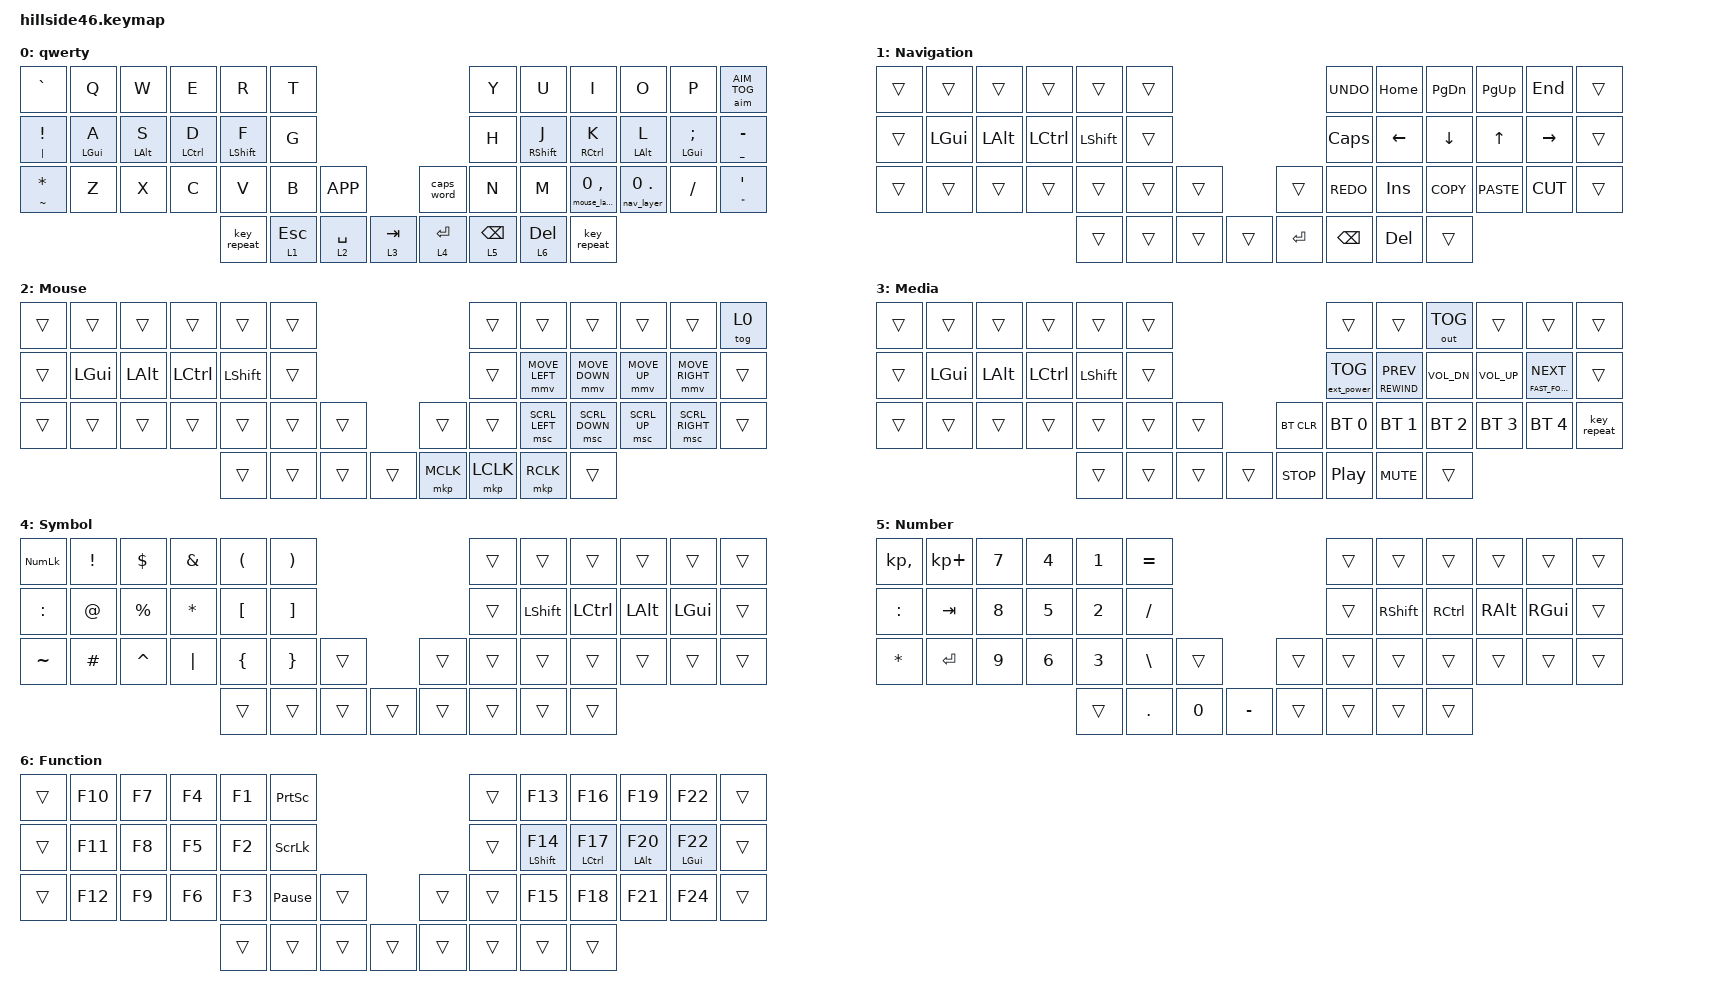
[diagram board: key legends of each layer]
/*
 * Copyright (c) 2021-2022 The ZMK Contributors
 *
 * SPDX-License-Identifier: MIT
 */

#define ZMK_POINTING_DEFAULT_MOVE_VAL 1500
#define ZMK_POINTING_DEFAULT_SCRL_VAL 200

#include "keys_hu.h"
//#include "./helper.h"
//#include "./zmk-nodefree-config/keypos_def/keypos_46keys_hillside.h"
#include <dt-bindings/zmk/mouse.h>
#include <behaviors.dtsi>
#include <zmk-helpers/helper.h>
#include <dt-bindings/zmk/bt.h>
#include <dt-bindings/zmk/ext_power.h>
#include <dt-bindings/zmk/keys.h>
#include <dt-bindings/zmk/outputs.h>
#include <dt-bindings/zmk/pointing.h>
#include <behaviors/anti_idle_mode.dtsi>
#include <dt-bindings/anti_idle_mode.h>

// Left-hand alphanumeric keys
#define KEYS_L 0 1 2 3 4 5 \
               12 13 14 15 16 17 \
               24 25 26 27 28 29

// Right-hand alphanumeric keys
#define KEYS_R 6   7  8  9 10 11 \
               18 19 20 21 22 23 \
               32 33 34 35 36 37

// Thumb keys (including inner thumb keys)
#define KEYS_T 30 38 39 40 41 \
               42 43 44 45 31

#define BASE 0
#define NAV  1
#define MOU  2
#define MED  3
#define SYM  4
#define NUM  5
#define FUN  6

// Smart mouse layer (requires zmk-tri-state)
ZMK_TRI_STATE(
    smart_mouse,
    bindings = <&tog MOU>, <&none>, <&tog MOU>;
    ignored-key-positions =
        <13 14 15 16
         19 20 21 22
         33 34 35 36
         42 43 44>;
    ignored-layers = <MOU>;
)

// Tap: comma | Hold: smart mouse
ZMK_HOLD_TAP(
    mouse_layer,
    bindings = <&smart_mouse>, <&kp>;
    flavor = "tap-preferred";
    tapping-term-ms = <600>;
)


// Smart navigation layer
ZMK_TRI_STATE(
    smart_nav,
    bindings = <&tog NAV>, <&none>, <&tog NAV>;
    ignored-key-positions =
        <7   8  9 10
         13 14 15 16
         19 20 21 22
         42 43 44>;
    ignored-layers = <NAV>;
)

// Tap: dot | Hold: smart navigation
ZMK_HOLD_TAP(
    nav_layer,
    bindings = <&smart_nav>, <&kp>;
    flavor = "tap-preferred";
    tapping-term-ms = <600>;
)

//urob variables

#define HM_TAPPING_TERM 300
#define HM_TAPPING_TERM_FAST 200

&kscan0 {
    debounce-press-ms = <10>;
    debounce-release-ms = <10>;
};

/*
Both mouse movement and scrolling have independently configurableincomplete, errors
acceleration profiles with three parameters: delay before movement,
time to max speed and the acceleration exponent. The exponent is
usually set to 0 for constant speed, 1 for uniform acceleration or
2 for uniform jerk.*/
// #define U_MOUSE_MOVE_MAX 1400                     /* <--- New max speed setting (default: 600) */
// #undef MOVE_UP
// #undef MOVE_DOWN
// #undef MOVE_LEFT
// #undef MOVE_RIGHT
// #define MOVE_UP MOVE_VERT(-U_MOUSE_MOVE_MAX)
// #define MOVE_DOWN MOVE_VERT(U_MOUSE_MOVE_MAX)
// #define MOVE_LEFT MOVE_HOR(-U_MOUSE_MOVE_MAX)
// #define MOVE_RIGHT MOVE_HOR(U_MOUSE_MOVE_MAX)
/*
&mmv {
    time-to-max-speed-ms = <400>;             // <--- How long time until max speed is reached (default: 500)
};
*/

&mmv {
    acceleration-exponent = <2>;      // 1
    time-to-max-speed-ms = <400>;     // 40
    delay-ms = <0>;                   // 0
};

// #define U_MOUSE_SCROLL_MAX 100                    /* <--- New max speed setting (default: 10) */

// #undef SCROLL_UP
// #undef SCROLL_DOWN
// #undef SCROLL_LEFT
// #undef SCROLL_RIGHT
// #define SCROLL_UP SCROLL_VERT(U_MOUSE_SCROLL_MAX)
// #define SCROLL_DOWN SCROLL_VERT(-U_MOUSE_SCROLL_MAX)
// #define SCROLL_LEFT SCROLL_HOR(-U_MOUSE_SCROLL_MAX)
// #define SCROLL_RIGHT SCROLL_HOR(U_MOUSE_SCROLL_MAX)

#define U_MS_U &mmv MOVE_UP
#define U_MS_D &mmv MOVE_DOWN
#define U_MS_L &mmv MOVE_LEFT
#define U_MS_R &mmv MOVE_RIGHT
#define U_WH_U &msc SCRL_UP
#define U_WH_D &msc SCRL_DOWN
#define U_WH_L &msc SCRL_LEFT
#define U_WH_R &msc SCRL_RIGHT

/*
&mwh {
    time-to-max-speed-ms = <500>;                 // <--- How long time until max speed is reached 
    acceleration-exponent = <2>;
};
*/

&msc {
    acceleration-exponent = <2>;      // 0
    time-to-max-speed-ms = <500>;      // 500
    delay-ms = <0>;                   // 10
};

/ {
    anti_idle {
        compatible = "zmk,anti-idle-generic";
        interval-ms = <5000>;
        bindings = <&mmv MOVE_RIGHT &mmv MOVE_LEFT>;
        tap_ms = <100>;
        wait_ms = <200>;
    };

    behaviors {
        /*
        bm: balanced_homerow_mods {
            compatible = "zmk,behavior-hold-tap";
            label = "BALANCED_HOMEROW_MODS";
            #binding-cells = <2>;
            tapping-term-ms = <200>;    // <---[[moderate duration]]
            quick-tap-ms = <0>;
            flavor = "balanced";
            bindings = <&kp>, <&kp>;
        };
        */

        bhm: balanced_homerow_mods {
            compatible = "zmk,behavior-hold-tap";
            #binding-cells = <2>;
            tapping-term-ms = <HM_TAPPING_TERM>;    // <---[[moderate duration]]
            quick-tap-ms = <HM_TAPPING_TERM_FAST>;
            flavor = "balanced";
            bindings = <&kp>, <&kp>;
        };

        hm: homerow_mods {
            compatible = "zmk,behavior-hold-tap";
            label = "HOMEROW_MODS";
            #binding-cells = <2>;
            tapping-term-ms = <250>;
            quick-tap-ms = <0>;
            flavor = "tap-preferred";
            bindings = <&kp>, <&kp>;
        };

        // Positional Homerow mods
        // Homerow mods that prevent accidental activations when rolling keys,
        // such as when typing `st` or `ne` on colemak-dh layouts or `as` on
        // qwerty.
        //
        // Works by only allowing a mod to activate within tapping-term if
        // it's on the opposite side of the keyboard or on the same side thumb
        // keys.
        // Further optimization using urob's timerless homerow mods method:
        // https://github.com/urob/zmk-config#timeless-homerow-mods

        hm_l: homerow_mods_left {
            compatible = "zmk,behavior-hold-tap";
            label = "HOMEROW_MODS_LEFT";
            #binding-cells = <2>;
            bindings = <&kp>, <&kp>;

            flavor = "balanced";
            tapping-term-ms = <HM_TAPPING_TERM>;
            quick-tap-ms = <175>;                // repeat on tap-into-hold
            require-prior-idle-ms = <150>;         // requires PR #1387
            hold-trigger-key-positions = <KEYS_R KEYS_T>;
            hold-trigger-on-release;             // requires PR #1423
        };

        hm_r: homerow_mods_right {
            compatible = "zmk,behavior-hold-tap";
            label = "HOMEROW_MODS_RIGHT";
            #binding-cells = <2>;
            bindings = <&kp>, <&kp>;

            flavor = "balanced";
            tapping-term-ms = <HM_TAPPING_TERM>;
            quick-tap-ms = <175>;
            require-prior-idle-ms = <150>;         // requires PR #1387
            hold-trigger-key-positions = <KEYS_L KEYS_T>;
            hold-trigger-on-release;             // requires PR #1423
        };

        // Positional Homerow mods for shift
        // Use faster tapping term and disable some features that may
        // cause false negatives.

        hm_shift_l: hm_shift_l {
            compatible = "zmk,behavior-hold-tap";
            label = "HOMEROW_MODS_FAST_LEFT";
            #binding-cells = <2>;
            bindings = <&kp>, <&kp>;

            flavor = "balanced";
            tapping-term-ms = <HM_TAPPING_TERM_FAST>;
            quick-tap-ms = <175>;

            // global-quick-tap-ms = <150>;         // requires PR #1387

            hold-trigger-key-positions = <KEYS_R KEYS_T>;

            // hold-trigger-on-release;             // requires PR #1423
        };

        hm_shift_r: hm_shift_r {
            compatible = "zmk,behavior-hold-tap";
            label = "HOMEROW_MODS_FAST_RIGHT";
            #binding-cells = <2>;
            bindings = <&kp>, <&kp>;

            flavor = "balanced";
            tapping-term-ms = <HM_TAPPING_TERM_FAST>;
            quick-tap-ms = <175>;

            // global-quick-tap-ms = <150>;         // requires PR #1387

            hold-trigger-key-positions = <KEYS_L KEYS_T>;

            // hold-trigger-on-release;             // requires PR #1423
        };

        /*
         * Non-Positional Homerow Mods
         * Used for &mm_grescm_gui behavior on left hand.
         *
         * Usage: &hm LSHFT T
         * Tap: T
         * Tap-Tap-Hold: Repeat T
         * Hold: LSHIFT
         */

        hmu: homerow_mods_urob {
            compatible = "zmk,behavior-hold-tap";
            label = "HOMEROW_MODS_UROB";
            #binding-cells = <2>;
            bindings = <&kp>, <&kp>;

            flavor = "balanced";
            tapping-term-ms = <HM_TAPPING_TERM>;
            quick-tap-ms = <200>;
        };

    };

    combos {
        compatible = "zmk,combos";

        caps_word {
            bindings = <&caps_word>;
            key-positions = <16 19>;
        };

        sziasztok {
            bindings = <&szia>;
            key-positions = <0 11>;
        };

        udv {
            bindings = <&udv>;
            key-positions = <12 23>;
        };

    };

    macros {
        udv: udv {
            compatible = "zmk,behavior-macro";
            #binding-cells = <0>;
            bindings = <&none &kp LS(U) &kp D &kp V &kp O &kp Z &kp L &kp E &kp T &kp T &kp E &kp L &kp COMMA &kp RET &kp LS(N) &kp A &kp G &kp Y &kp SPACE &kp LS(S) &kp Z &kp E &kp B &kp A &kp S &kp Z &kp T &kp I &kp A &kp N &kp SPACE &kp LS(V) &kp I &kp L &kp M &kp O &kp S>;
            label = "UDV";
        };

        szia: szia {
            compatible = "zmk,behavior-macro";
            #binding-cells = <0>;
            bindings = <&none &kp LS(S) &kp Z &kp I &kp A &kp S &kp Z &kp T &kp O &kp K &kp COMMA &kp RET>;
            label = "SZIA";
        };
    };

    keymap {
        compatible = "zmk,keymap";

        qwerty {
            /* QWERTY
 * -------------------------------------------------------------------------------------------------------------------------------------
 * | `     |   Q   |   W   |   E   |   R   |   T   |-----------------------------------|   Y   |   U   |   I   |   O   |   P   | BKSPC |
 * | TAB   |   A   |   S   |   D   |   F   |   G   |-----------------------------------|   H   |   J   |   K   |   L   |   ;   | ENTER |
 * | CTRL  |   Z   |   X   |   C   |   V   |   B   |  ESC  |-------------------|  CAPS |   N   |   M   |   ,   |   .   |   /   |   '   |
 *                                 |  GUI  |  ALT  |SK SHFT|  Nav  |---|  Sym  | SPACE |  ALT  |  GUI  |
 */

            bindings = <
&kp GRAVE        &kp Q        &kp W            &kp E                &kp R          &kp T                                                             &kp Y         &kp U         &kp I         &kp O        &kp P           &aim AIM_TOG
&mt PIPE EXCL    &hmu LGUI A  &hmu LEFT_ALT S  &hmu LEFT_CONTROL D  &hmu LSHIFT F  &kp G                                                             &kp H         &hmu RSHFT J  &hmu RCTRL K  &hmu LALT L  &hmu LGUI SEMI  &mt UNDER MINUS
&mt TILDE ASTRK  &kp Z        &kp X            &kp C                &kp V          &kp B         &kp K_APP                          &caps_word       &kp N         &kp M         &mouse_layer 0 COMMA     &nav_layer 0 DOT      &kp SLASH       &mt DQT SQT
                                                                    &key_repeat    &lt 1 ESCAPE  &lt 2 SPACE  &lt 3 TAB  &lt 4 RET  &lt 5 BACKSPACE  &lt 6 DELETE  &key_repeat
            >;
        };

        Nav {
            bindings = <
&trans  &trans    &trans    &trans     &trans     &trans                                       &kp K_UNDO    &kp HOME  &kp PG_DN   &kp PG_UP    &kp END    &trans
&trans  &kp LGUI  &kp LALT  &kp LCTRL  &kp LSHFT  &trans                                       &kp CAPSLOCK  &kp LEFT  &kp DOWN    &kp UP       &kp RIGHT  &trans
&trans  &trans    &trans    &trans     &trans     &trans  &trans                     &trans    &kp K_REDO    &kp INS   &kp K_COPY  &kp K_PASTE  &kp K_CUT  &trans
                                       &trans     &trans  &trans  &trans  &kp ENTER  &kp BSPC  &kp DELETE    &trans
            >;

            label = "Navigation";
        };

        Mou {
            bindings = <
&trans  &trans    &trans    &trans     &trans     &trans                                        &trans     &trans          &trans          &trans        &trans           &tog 0
&trans  &kp LGUI  &kp LALT  &kp LCTRL  &kp LSHFT  &trans                                        &trans     &mmv MOVE_LEFT  &mmv MOVE_DOWN  &mmv MOVE_UP  &mmv MOVE_RIGHT  &trans
&trans  &trans    &trans    &trans     &trans     &trans  &trans                     &trans     &trans     &msc SCRL_LEFT  &msc SCRL_DOWN  &msc SCRL_UP  &msc SCRL_RIGHT  &trans
                                       &trans     &trans  &trans  &trans  &mkp MCLK  &mkp LCLK  &mkp RCLK  &trans
            >;

            label = "Mouse";
        };

        Med {
            bindings = <
&trans  &trans        &trans        &trans     &trans     &trans                                                &trans             &trans               &out OUT_TOG  &trans        &trans                     &trans
&trans  &kp LEFT_GUI  &kp LEFT_ALT  &kp LCTRL  &kp LSHFT  &trans                                                &ext_power EP_TOG  &mt C_REWIND C_PREV  &kp C_VOL_DN  &kp C_VOL_UP  &mt C_FAST_FORWARD C_NEXT  &trans
&trans  &trans        &trans        &trans     &trans     &trans  &trans                      &bt BT_CLR        &bt BT_SEL 0       &bt BT_SEL 1         &bt BT_SEL 2  &bt BT_SEL 3  &bt BT_SEL 4               &key_repeat
                                               &trans     &trans  &trans  &trans  &kp C_STOP  &kp C_PLAY_PAUSE  &kp C_MUTE         &trans
            >;

            label = "Media";
        };

        Sym {
            bindings = <
&kp KP_NUMLOCK  &kp EXCL  &kp DOLLAR   &kp AMPERSAND  &kp LEFT_PARENTHESIS  &kp RIGHT_PARENTHESIS                                  &trans  &trans      &trans     &trans    &trans    &trans
&kp COLON       &kp AT    &kp PERCENT  &kp ASTERISK   &kp LEFT_BRACKET      &kp RIGHT_BRACKET                                      &trans  &kp LSHIFT  &kp LCTRL  &kp LALT  &kp LGUI  &trans
&kp TILDE       &kp HASH  &kp CARET    &kp PIPE       &kp LEFT_BRACE        &kp RIGHT_BRACE        &trans                  &trans  &trans  &trans      &trans     &trans    &trans    &trans
                                                      &trans                &trans                 &trans  &trans  &trans  &trans  &trans  &trans
            >;

            label = "Symbol";
        };

        Num {
            bindings = <
&kp KP_COMMA  &kp KP_PLUS  &kp N7  &kp N4  &kp N1  &kp EQUAL                                     &trans  &trans     &trans     &trans    &trans    &trans
&kp COLON     &kp TAB      &kp N8  &kp N5  &kp N2  &kp FSLH                                      &trans  &kp RSHFT  &kp RCTRL  &kp RALT  &kp RGUI  &trans
&kp STAR      &kp RET      &kp N9  &kp N6  &kp N3  &kp BSLH   &trans                     &trans  &trans  &trans     &trans     &trans    &trans    &trans
                                           &trans  &kp DOT    &kp N0  &kp MINUS  &trans  &trans  &trans  &trans
            >;

            label = "Number";
        };

        Fun {
            bindings = <
&trans  &kp F10  &kp F7  &kp F4  &kp F1  &kp PRINTSCREEN                                  &trans  &kp F13         &kp F16        &kp F19       &kp F22       &trans
&trans  &kp F11  &kp F8  &kp F5  &kp F2  &kp SCROLLLOCK                                   &trans  &mt LSHIFT F14  &mt LCTRL F17  &mt LALT F20  &mt LGUI F22  &trans
&trans  &kp F12  &kp F9  &kp F6  &kp F3  &kp PAUSE_BREAK  &trans                  &trans  &trans  &kp F15         &kp F18        &kp F21       &kp F24       &trans
                                 &trans  &trans           &trans  &trans  &trans  &trans  &trans  &trans
            >;

            label = "Function";
        };

    };

    conditional_layers {
        compatible = "zmk,conditional-layers";

        to-col {
            if-layers = <0>;
            then-layer = <7>;
        };

        to-qwe {
            if-layers = <7>;
            then-layer = <0>;
        };
    };
};
